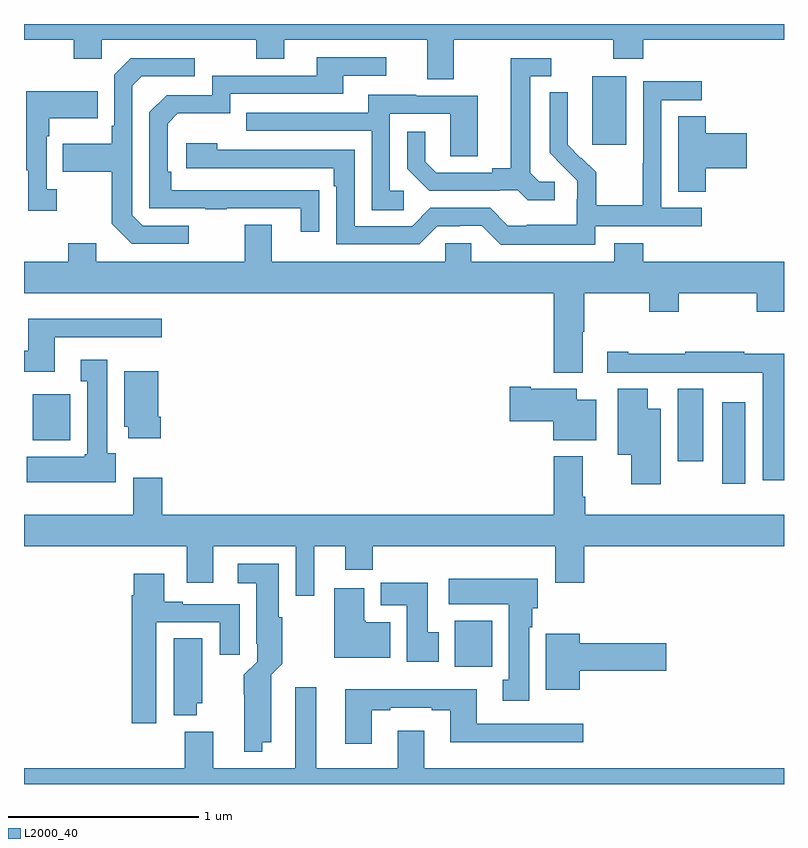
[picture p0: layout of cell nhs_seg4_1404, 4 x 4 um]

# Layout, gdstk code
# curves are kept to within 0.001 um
import gdstk
lib = gdstk.Library(unit=1e-6, precision=1e-09)
def R(c, l, rs):  # rectangles x0, y0, x1, y1
    for r in rs: c.add(gdstk.rectangle(r[:2], r[2:], *l))
def P(c, l, *ps):  # polygons
    for p in ps: c.add(gdstk.Polygon(p, *l))
L2000_40 = (2000, 40)

nhs_seg4_1404 = lib.new_cell('nhs_seg4_1404')
R(nhs_seg4_1404, L2000_40, [(185.267,797.516,185.464,797.758), (186.674,798.48,186.796,798.91), (186.44,798.6,186.574,798.98), (183.047,798.71,183.244,798.952), (185.99,800.265,186.169,800.626)])
P(nhs_seg4_1404, L2000_40, [(185.263,800.816),(186.1,800.816),(186.1,800.717),(186.26,800.717),(186.26,800.816),(187,800.816),(187,800.9),(183,800.9),(183,800.816),(183.262,800.816),(183.262,800.717),(183.408,800.717),(183.408,800.816),(184.222,800.816),(184.222,800.717),(184.369,800.717),(184.369,800.816),(185.123,800.816),(185.123,800.608),(185.263,800.608)],
  [(184.553,800.024),(183.776,800.025),(183.776,800.122),(183.756,800.122),(183.756,800.376),(183.809,800.429),(184.086,800.429),(184.086,800.532),(184.681,800.532),(184.681,800.628),(184.906,800.628),(184.906,800.724),(184.541,800.724),(184.541,800.628),(183.99,800.628),(183.99,800.526),(183.75,800.526),(183.66,800.436),(183.66,799.929),(183.955,799.929),(183.955,799.924),(184.067,799.924),(184.067,799.929),(184.457,799.929),(184.457,799.806),(184.553,799.806)],
  [(183.868,799.839),(183.624,799.839),(183.57,799.893),(183.57,800.574),(183.621,800.625),(183.898,800.625),(183.898,800.721),(183.561,800.721),(183.474,800.634),(183.474,800.365),(183.462,800.365),(183.462,800.269),(183.205,800.269),(183.205,800.122),(183.462,800.122),(183.462,799.849),(183.567,799.743),(183.868,799.743)],
  [(185.794,800.07),(185.712,800.07),(185.665,800.117),(185.665,800.625),(185.776,800.625),(185.776,800.721),(185.561,800.721),(185.561,800.141),(185.465,800.141),(185.465,800.118),(185.17,800.118),(185.113,800.175),(185.113,800.332),(185.016,800.332),(185.016,800.138),(185.132,800.022),(185.504,800.022),(185.504,800.025),(185.598,800.025),(185.65,799.973),(185.794,799.973)],
  [(186.006,799.836),(186.568,799.836),(186.568,799.932),(186.354,799.932),(186.354,800.499),(186.568,800.499),(186.568,800.598),(186.258,800.598),(186.258,800.168),(186.256,800.168),(186.256,799.945),(186.011,799.945),(186.011,800.119),(185.934,800.196),(185.931,800.193),(185.861,800.264),(185.862,800.54),(185.766,800.54),(185.766,800.222),(185.912,800.074),(185.912,799.977),(185.91,799.977),(185.91,799.843),(185.647,799.843),(185.647,799.839),(185.547,799.839),(185.454,799.932),(185.139,799.932),(185.043,799.836),(184.74,799.836),(184.74,800.238),(184.016,800.238),(184.016,800.272),(183.855,800.272),(183.855,800.142),(184.631,800.142),(184.631,800.045),(184.644,800.045),(184.644,799.74),(185.079,799.74),(185.175,799.836),(185.294,799.836),(185.294,799.839),(185.409,799.839),(185.509,799.739),(186.006,799.739)],
  [(183.172,800.03),(183.12,800.03),(183.12,800.309),(183.133,800.309),(183.133,800.405),(183.389,800.405),(183.389,800.545),(183.012,800.545),(183.012,800.129),(183.023,800.129),(183.023,799.917),(183.172,799.917)],
  [(184.999,800.022),(184.926,800.022),(184.926,800.427),(185.244,800.427),(185.244,800.203),(185.389,800.203),(185.389,800.523),(185.065,800.523),(185.065,800.527),(184.811,800.527),(184.811,800.433),(184.171,800.433),(184.171,800.337),(184.83,800.337),(184.83,799.921),(184.999,799.921)],
  [(186.587,800.141),(186.805,800.141),(186.805,800.324),(186.587,800.324),(186.587,800.414),(186.443,800.414),(186.443,800.017),(186.587,800.017)],
  [(185.941,799.28),(185.949,799.28),(185.949,799.484),(186.292,799.484),(186.292,799.385),(186.447,799.385),(186.447,799.484),(186.856,799.484),(186.856,799.385),(187,799.385),(187,799.648),(186.26,799.648),(186.26,799.747),(186.107,799.747),(186.107,799.648),(185.355,799.648),(185.355,799.746),(185.217,799.746),(185.217,799.648),(184.303,799.648),(184.303,799.843),(184.163,799.843),(184.163,799.648),(183.379,799.648),(183.379,799.747),(183.232,799.747),(183.232,799.648),(183,799.648),(183,799.484),(185.789,799.484),(185.789,799.064),(185.941,799.064)],
  [(183.163,799.251),(183.724,799.251),(183.724,799.348),(183.023,799.348),(183.023,799.18),(183,799.18),(183,799.07),(183.163,799.07)],
  [(187,799.164),(186.791,799.164),(186.791,799.174),(186.481,799.174),(186.481,799.164),(186.181,799.164),(186.181,799.174),(186.069,799.174),(186.069,799.065),(186.678,799.065),(186.678,799.064),(186.888,799.064),(186.888,798.498),(187,798.498)],
  [(183.484,798.642),(183.439,798.642),(183.439,799.132),(183.299,799.132),(183.299,799.019),(183.332,799.019),(183.332,798.636),(183.319,798.636),(183.319,798.622),(183.015,798.622),(183.015,798.488),(183.484,798.488)],
  [(183.719,798.832),(183.706,798.832),(183.706,799.072),(183.527,799.072),(183.527,798.78),(183.548,798.78),(183.548,798.72),(183.719,798.72)],
  [(186.013,798.922),(185.908,798.922),(185.908,798.979),(185.668,798.979),(185.668,798.992),(185.556,798.992),(185.556,798.809),(185.786,798.809),(185.786,798.71),(186.013,798.71)],
  [(186.352,798.874),(186.283,798.874),(186.283,798.98),(186.125,798.98),(186.125,798.632),(186.197,798.632),(186.197,798.477),(186.352,798.477)],
  [(184.528,798.152),(184.691,798.152),(184.691,798.028),(184.835,798.028),(184.835,798.152),(185.795,798.152),(185.795,797.958),(185.948,797.958),(185.948,798.152),(187,798.152),(187,798.316),(185.954,798.316),(185.954,798.412),(185.941,798.412),(185.941,798.625),(185.789,798.625),(185.789,798.316),(183.728,798.316),(183.728,798.511),(183.575,798.511),(183.575,798.316),(183,798.316),(183,798.152),(183.857,798.152),(183.857,797.958),(183.997,797.958),(183.997,798.152),(184.431,798.152),(184.431,797.892),(184.528,797.892)],
  [(184.255,797.12),(184.3,797.12),(184.301,797.474),(184.36,797.533),(184.36,797.778),(184.342,797.778),(184.342,798.058),(184.125,798.058),(184.125,797.957),(184.223,797.957),(184.223,797.638),(184.227,797.638),(184.227,797.544),(184.157,797.474),(184.158,797.069),(184.255,797.069)],
  [(183.697,797.751),(184.031,797.751),(184.031,797.58),(184.135,797.58),(184.135,797.847),(183.835,797.847),(183.835,797.86),(183.739,797.86),(183.739,798.007),(183.578,798.007),(183.578,797.894),(183.566,797.894),(183.566,797.22),(183.697,797.22)],
  [(185.659,797.726),(185.674,797.726),(185.674,797.826),(185.704,797.826),(185.704,797.98),(185.235,797.98),(185.235,797.846),(185.552,797.846),(185.552,797.45),(185.519,797.45),(185.519,797.337),(185.659,797.337)],
  [(185.182,797.7),(185.125,797.7),(185.125,797.958),(184.877,797.958),(184.877,797.84),(185.015,797.84),(185.015,797.544),(185.182,797.544)],
  [(184.927,797.752),(184.798,797.752),(184.798,797.758),(184.792,797.758),(184.792,797.929),(184.634,797.929),(184.634,797.564),(184.927,797.564)],
  [(185.926,797.495),(186.379,797.495),(186.379,797.642),(185.926,797.642),(185.926,797.692),(185.747,797.692),(185.747,797.396),(185.926,797.396)],
  [(183.91,797.325),(183.937,797.325),(183.937,797.666),(183.788,797.666),(183.788,797.261),(183.91,797.261)],
  [(184.537,797.41),(184.427,797.41),(184.427,796.984),(183.997,796.984),(183.997,797.176),(183.845,797.176),(183.845,796.984),(183,796.984),(183,796.9),(187,796.9),(187,796.984),(185.107,796.984),(185.107,797.179),(184.967,797.179),(184.967,796.984),(184.537,796.984)],
  [(184.831,797.289),(184.927,797.289),(184.927,797.301),(185.147,797.301),(185.147,797.289),(185.243,797.289),(185.243,797.12),(185.944,797.12),(185.944,797.217),(185.383,797.217),(185.383,797.398),(184.691,797.398),(184.691,797.112),(184.831,797.112)])

lib.write_gds('nhs_seg4_1404.gds')
